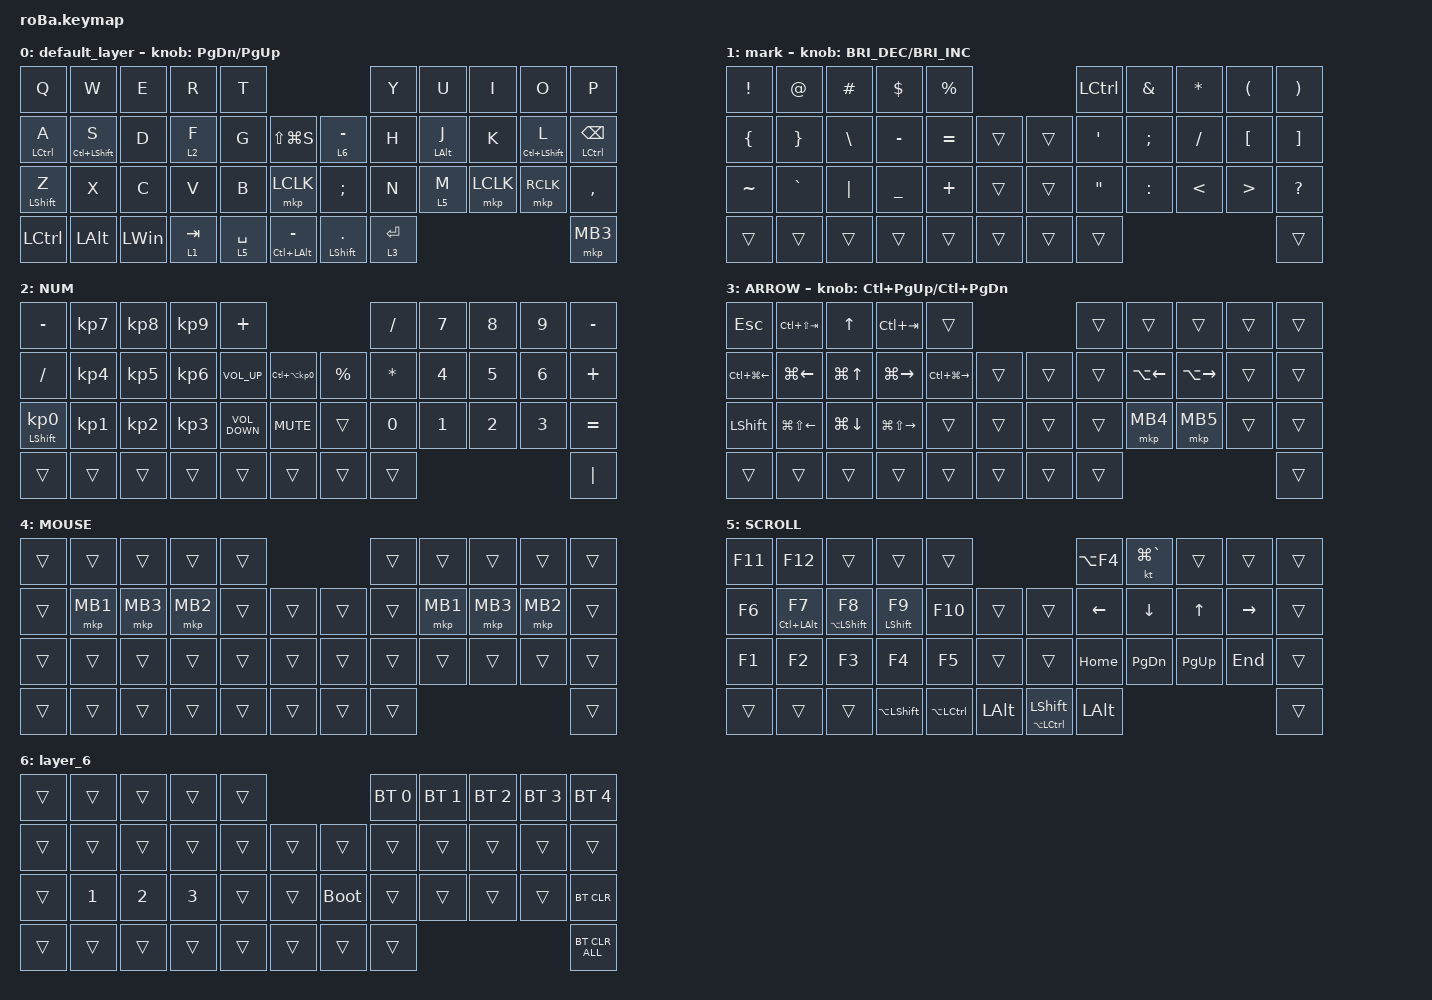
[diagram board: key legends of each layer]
#include <behaviors.dtsi>
#include <dt-bindings/zmk/bt.h>
#include <dt-bindings/zmk/keys.h>
#include <dt-bindings/zmk/pointing.h>

#define MOUSE 4
#define SCROLL 5
#define NUM 6

&mt {
    flavor = "balanced";
    quick-tap-ms = <0>;
};

/ {
    combos {
        compatible = "zmk,combos";

        tab {
            bindings = <&kp TAB>;
            key-positions = <11 12>;
        };

        lck {
            bindings = <&mkp LCLK>;
            key-positions = <12 13>;
        };

        muhennkann {
            bindings = <&to_layer_0 INT_MUHENKAN>;
            key-positions = <11 10>;
        };

        eq {
            bindings = <&kp EQUAL>;
            key-positions = <24 25>;
        };

        esc {
            bindings = <&kp ESCAPE>;
            key-positions = <18 19>;
        };

        del {
            bindings = <&kp DELETE>;
            key-positions = <21 20>;
        };

        mouse3 {
            bindings = <&mkp MB3>;
            key-positions = <32 31>;
        };
    };

    macros {
        to_layer_0: to_layer_0 {
            compatible = "zmk,behavior-macro-one-param";
            #binding-cells = <1>;
            bindings = <&to 0 &macro_param_1to1 &kp MACRO_PLACEHOLDER>;
            label = "TO_LAYER_0";
        };

        app_end: app_end {
            compatible = "zmk,behavior-macro";
            #binding-cells = <0>;
            bindings = <&none>;
            label = "APP_END";
        };
    };

    behaviors {
        lt_to_layer_0: lt_to_layer_0 {
            compatible = "zmk,behavior-hold-tap";
            label = "LAYER_TAP_TO_0";
            bindings = <&mo>, <&to_layer_0>;

            #binding-cells = <2>;
            tapping-term-ms = <200>;
        };
    };

    keymap {
        compatible = "zmk,keymap";

        default_layer {
            bindings = <
&kp Q             &kp W                 &kp E         &kp R                 &kp T                                                           &kp Y        &kp U           &kp I      &kp O                 &kp P
&mt LCTRL A       &mt LC(LEFT_SHIFT) S  &kp D         &lt 2 F               &kp G        &kp LS(LG(S))               &lt 6 MINUS            &kp H        &mt LEFT_ALT J  &kp K      &mt LC(LEFT_SHIFT) L  &mt LCTRL BACKSPACE
&mt LEFT_SHIFT Z  &kp X                 &kp C         &kp V                 &kp B        &mkp LCLK                   &kp SEMICOLON          &kp N        &lt 5 M         &mkp LCLK  &mkp RCLK             &kp COMMA
&kp LCTRL         &kp LEFT_ALT          &kp LEFT_WIN  &lt_to_layer_0 1 TAB  &lt 5 SPACE  &mt LC(LEFT_ALT) MINUS      &mt LEFT_SHIFT PERIOD  &lt 3 ENTER                                                   &mkp MB3
            >;

            sensor-bindings = <&inc_dec_kp PAGE_DOWN PAGE_UP>;
        };

        mark {
            bindings = <
&kp EXCLAMATION  &kp AT_SIGN      &kp HASH       &kp DOLLAR      &kp PERCENT                      &kp LCTRL          &kp AMPERSAND  &kp ASTERISK   &kp LEFT_PARENTHESIS  &kp RIGHT_PARENTHESIS
&kp LEFT_BRACE   &kp RIGHT_BRACE  &kp BACKSLASH  &kp MINUS       &kp EQUAL    &trans      &trans  &kp SQT            &kp SEMICOLON  &kp SLASH      &kp LEFT_BRACKET      &kp RIGHT_BRACKET
&kp TILDE        &kp GRAVE        &kp PIPE       &kp UNDERSCORE  &kp PLUS     &trans      &trans  &kp DOUBLE_QUOTES  &kp COLON      &kp LESS_THAN  &kp GREATER_THAN      &kp QUESTION
&trans           &trans           &trans         &trans          &trans       &trans      &trans  &trans                                                                 &trans
            >;

            sensor-bindings = <&inc_dec_kp C_BRIGHTNESS_DEC C_BRIGHTNESS_INC>;
        };

        NUM {
            bindings = <
&kp MINUS                   &kp KP_NUMBER_7  &kp KP_NUMBER_8  &kp KP_NUMBER_9  &kp PLUS                                                     &kp SLASH     &kp NUMBER_7  &kp NUMBER_8  &kp NUMBER_9  &kp MINUS
&kp SLASH                   &kp KP_NUMBER_4  &kp KP_NUMBER_5  &kp KP_NUMBER_6  &kp C_VOLUME_UP    &kp LC(LA(KP_NUMBER_0))      &kp PERCENT  &kp ASTERISK  &kp NUMBER_4  &kp NUMBER_5  &kp NUMBER_6  &kp PLUS
&mt LEFT_SHIFT KP_NUMBER_0  &kp KP_NUMBER_1  &kp KP_NUMBER_2  &kp KP_NUMBER_3  &kp C_VOLUME_DOWN  &kp C_MUTE                   &trans       &kp NUMBER_0  &kp NUMBER_1  &kp NUMBER_2  &kp NUMBER_3  &kp EQUAL
&trans                      &trans           &trans           &trans           &trans             &trans                       &trans       &trans                                                  &kp PIPE
            >;
        };

        ARROW {
            bindings = <
&kp ESCAPE        &kp LC(LS(TAB))         &kp UP_ARROW      &kp LC(TAB)              &trans                                 &trans  &trans        &trans         &trans  &trans
&kp LC(LG(LEFT))  &kp LG(LEFT)            &kp LG(UP_ARROW)  &kp LG(RIGHT)            &kp LC(LG(RIGHT))  &trans      &trans  &trans  &kp LA(LEFT)  &kp LA(RIGHT)  &trans  &trans
&kp LEFT_SHIFT    &kp LG(LS(LEFT_ARROW))  &kp LG(DOWN)      &kp LG(LS(RIGHT_ARROW))  &trans             &trans      &trans  &trans  &mkp MB4      &mkp MB5       &trans  &trans
&trans            &trans                  &trans            &trans                   &trans             &trans      &trans  &trans                                       &trans
            >;

            sensor-bindings = <&inc_dec_kp LC(PAGE_UP) LC(PAGE_DOWN)>;
        };

        MOUSE {
            bindings = <
&trans  &trans    &trans    &trans    &trans                      &trans  &trans    &trans    &trans    &trans
&trans  &mkp MB1  &mkp MB3  &mkp MB2  &trans  &trans      &trans  &trans  &mkp MB1  &mkp MB3  &mkp MB2  &trans
&trans  &trans    &trans    &trans    &trans  &trans      &trans  &trans  &trans    &trans    &trans    &trans
&trans  &trans    &trans    &trans    &trans  &trans      &trans  &trans                                &trans
            >;
        };

        SCROLL {
            bindings = <
&kp F11  &kp F12              &trans                 &trans             &trans                                                     &kp LA(F4)      &kt LG(GRAVE)   &trans        &trans           &trans
&kp F6   &mt LC(LEFT_ALT) F7  &mt LA(LEFT_SHIFT) F8  &mt LEFT_SHIFT F9  &kp F10        &trans            &trans                    &kp LEFT_ARROW  &kp DOWN_ARROW  &kp UP_ARROW  &kp RIGHT_ARROW  &trans
&kp F1   &kp F2               &kp F3                 &kp F4             &kp F5         &trans            &trans                    &kp HOME        &kp PAGE_DOWN   &kp PAGE_UP   &kp END          &trans
&trans   &trans               &trans                 &kp LA(LSHFT)      &kp LA(LCTRL)  &kp LEFT_ALT      &mt LA(LCTRL) LEFT_SHIFT  &kp LEFT_ALT                                                   &trans
            >;
        };

        layer_6 {
            bindings = <
&trans  &trans        &trans        &trans        &trans                           &bt BT_SEL 0  &bt BT_SEL 1  &bt BT_SEL 2  &bt BT_SEL 3  &bt BT_SEL 4
&trans  &trans        &trans        &trans        &trans  &trans      &trans       &trans        &trans        &trans        &trans        &trans
&trans  &kp NUMBER_1  &kp NUMBER_2  &kp NUMBER_3  &trans  &trans      &bootloader  &trans        &trans        &trans        &trans        &bt BT_CLR
&trans  &trans        &trans        &trans        &trans  &trans      &trans       &trans                                                  &bt BT_CLR_ALL
            >;
        };
    };
};
